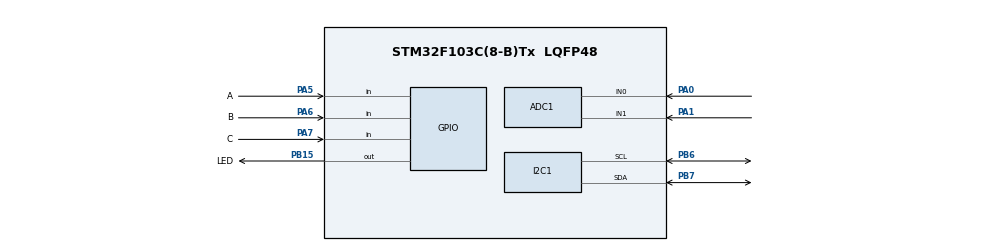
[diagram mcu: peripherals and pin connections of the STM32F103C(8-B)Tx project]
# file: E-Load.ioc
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ADC1.Channel-0\#ChannelRegularConversion=ADC_CHANNEL_1
ADC1.Channel-1\#ChannelRegularConversion=ADC_CHANNEL_0
ADC1.ContinuousConvMode=ENABLE
ADC1.NbrOfConversion=2
ADC1.NbrOfConversionFlag=1
ADC1.Rank-0\#ChannelRegularConversion=1
ADC1.Rank-1\#ChannelRegularConversion=2
ADC1.SamplingTime-0\#ChannelRegularConversion=ADC_SAMPLETIME_28CYCLES_5
ADC1.SamplingTime-1\#ChannelRegularConversion=ADC_SAMPLETIME_28CYCLES_5
ADC1.master=1
Dma.ADC1.0.Direction=DMA_PERIPH_TO_MEMORY
Dma.ADC1.0.Instance=DMA1_Channel1
Dma.ADC1.0.MemDataAlignment=DMA_MDATAALIGN_WORD
Dma.ADC1.0.MemInc=DMA_MINC_ENABLE
Dma.ADC1.0.Mode=DMA_CIRCULAR
Dma.ADC1.0.PeriphDataAlignment=DMA_PDATAALIGN_WORD
Dma.ADC1.0.PeriphInc=DMA_PINC_DISABLE
Dma.ADC1.0.Priority=DMA_PRIORITY_LOW
Dma.Request0=ADC1
Mcu.Family=STM32F1
Mcu.Name=STM32F103C(8-B)Tx
Mcu.Package=LQFP48
NVIC.DMA1_Channel1_IRQn=true\:0\:0\:false\:false\:true\:false\:true
NVIC.PriorityGroup=NVIC_PRIORITYGROUP_4
PA0-WKUP.Signal=ADCx_IN0
PA1.Signal=ADCx_IN1
PA13.GPIO_Label=SWDIO
PA13.Mode=Serial_Wire
PA13.Signal=SYS_JTMS-SWDIO
PA14.GPIO_Label=SWCLK
PA14.Mode=Serial_Wire
PA14.Signal=SYS_JTCK-SWCLK
PA5.GPIO_Label=A
PA5.Signal=GPIO_Input
PA6.GPIO_Label=B
PA6.Signal=GPIO_Input
PA7.GPIO_Label=C
PA7.Signal=GPIO_Input
PB15.GPIO_Label=LED
PB15.Signal=GPIO_Output
PB6.Mode=I2C
PB6.Signal=I2C1_SCL
PB7.Mode=I2C
PB7.Signal=I2C1_SDA
ProjectManager.HeapSize=0x200
ProjectManager.StackSize=0x400
ProjectManager.TargetToolchain=STM32CubeIDE
RCC.APB1Freq_Value=8000000
RCC.APB2Freq_Value=8000000
SH.ADCx_IN0.0=ADC1_IN0,IN0
SH.ADCx_IN1.0=ADC1_IN1,IN1
TIM1.Prescaler=16
VP_TIM1_VS_ClockSourceINT.Mode=Internal
board=custom

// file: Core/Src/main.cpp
/* USER CODE BEGIN Header */
/**
  ******************************************************************************
  * @file           : main.c
  * @brief          : Main program body
  ******************************************************************************
  * @attention
  *
  * <h2><center>&copy; Copyright (c) 2020 STMicroelectronics.
  * All rights reserved.</center></h2>
  *
  * This software component is licensed by ST under BSD 3-Clause license,
  * the "License"; You may not use this file except in compliance with the
  * License. You may obtain a copy of the License at:
  *                        opensource.org/licenses/BSD-3-Clause
  *
  ******************************************************************************
  */
/* USER CODE END Header */
#include <main.hpp>

/* USER CODE BEGIN Includes */
#include "ADC.hpp"
#include "Buttons.hpp"
#include "DAC.hpp"
/* USER CODE END Includes */

ADC_HandleTypeDef hadc1;
DMA_HandleTypeDef hdma_adc1;

I2C_HandleTypeDef hi2c1;

TIM_HandleTypeDef htim1;

void SystemClock_Config(void);
static void MX_GPIO_Init(void);
static void MX_DMA_Init(void);
static void MX_ADC1_Init(void);
static void MX_I2C1_Init(void);
static void MX_TIM1_Init(void);

int main(void)
{

  /* MCU Configuration--------------------------------------------------------*/

  /* Reset of all peripherals, Initializes the Flash interface and the Systick. */
  HAL_Init();

  /* Configure the system clock */
  SystemClock_Config();

  /* Initialize all configured peripherals */
  MX_GPIO_Init();
  MX_DMA_Init();
  MX_ADC1_Init();
  MX_I2C1_Init();
  MX_TIM1_Init();
  /* USER CODE BEGIN 2 */

  AllButtons Butt;  //Button Class

  ADC Adc(hadc1);   // ADC Class

  if(Adc.ADC_Error != HAL_OK)
  {
	  Error_Handler();
  }

  buttons butt; // Buttons struct
  HAL_GPIO_WritePin(LED_GPIO_Port, LED_Pin, GPIO_PIN_SET);

  static const uint8_t DAC_ADDR = 0b0001100<<1; // Need to shift to the left. Bit 0 is R/W bit

  DAC Dac(hi2c1,DAC_ADDR);
  HAL_StatusTypeDef ret = HAL_OK;

  /* USER CODE END 2 */

  /* Infinite loop */
  /* USER CODE BEGIN WHILE */
  double * raw = Adc.ADC_getValue();

  while (1)
  {
    /* USER CODE END WHILE */

    /* USER CODE BEGIN 3 */
	Butt.readButtons(&butt);

	if (butt.A == true)
	{
		HAL_GPIO_TogglePin(LED_GPIO_Port, LED_Pin);

	}
	if (butt.B == true)
	{
		HAL_GPIO_TogglePin(LED_GPIO_Port, LED_Pin);
	}
    if (butt.C == true)
	{
    	HAL_GPIO_TogglePin(LED_GPIO_Port, LED_Pin);
	}

	if(raw <= 0)
	{
		Error_Handler();
	}

    raw = Adc.ADC_getValue();
	//ret = Dac.setValue(5);
	if(ret != HAL_OK)
	{
		Error_Handler();
	}

  }
  /* USER CODE END 3 */
}

void SystemClock_Config(void)
{
  RCC_OscInitTypeDef RCC_OscInitStruct = {0};
  RCC_ClkInitTypeDef RCC_ClkInitStruct = {0};
  RCC_PeriphCLKInitTypeDef PeriphClkInit = {0};

  /** Initializes the RCC Oscillators according to the specified parameters
  * in the RCC_OscInitTypeDef structure.
  */
  RCC_OscInitStruct.OscillatorType = RCC_OSCILLATORTYPE_HSI;
  RCC_OscInitStruct.HSIState = RCC_HSI_ON;
  RCC_OscInitStruct.HSICalibrationValue = RCC_HSICALIBRATION_DEFAULT;
  RCC_OscInitStruct.PLL.PLLState = RCC_PLL_NONE;
  if (HAL_RCC_OscConfig(&RCC_OscInitStruct) != HAL_OK)
  {
    Error_Handler();
  }
  /** Initializes the CPU, AHB and APB buses clocks
  */
  RCC_ClkInitStruct.ClockType = RCC_CLOCKTYPE_HCLK|RCC_CLOCKTYPE_SYSCLK
                              |RCC_CLOCKTYPE_PCLK1|RCC_CLOCKTYPE_PCLK2;
  RCC_ClkInitStruct.SYSCLKSource = RCC_SYSCLKSOURCE_HSI;
  RCC_ClkInitStruct.AHBCLKDivider = RCC_SYSCLK_DIV1;
  RCC_ClkInitStruct.APB1CLKDivider = RCC_HCLK_DIV1;
  RCC_ClkInitStruct.APB2CLKDivider = RCC_HCLK_DIV1;

  if (HAL_RCC_ClockConfig(&RCC_ClkInitStruct, FLASH_LATENCY_0) != HAL_OK)
  {
    Error_Handler();
  }
  PeriphClkInit.PeriphClockSelection = RCC_PERIPHCLK_ADC;
  PeriphClkInit.AdcClockSelection = RCC_ADCPCLK2_DIV2;
  if (HAL_RCCEx_PeriphCLKConfig(&PeriphClkInit) != HAL_OK)
  {
    Error_Handler();
  }
}

static void MX_ADC1_Init(void)
{

  ADC_ChannelConfTypeDef sConfig = {0};

  /** Common config
  */
  hadc1.Instance = ADC1;
  hadc1.Init.ScanConvMode = ADC_SCAN_ENABLE;
  hadc1.Init.ContinuousConvMode = ENABLE;
  hadc1.Init.DiscontinuousConvMode = DISABLE;
  hadc1.Init.ExternalTrigConv = ADC_SOFTWARE_START;
  hadc1.Init.DataAlign = ADC_DATAALIGN_RIGHT;
  hadc1.Init.NbrOfConversion = 2;
  if (HAL_ADC_Init(&hadc1) != HAL_OK)
  {
    Error_Handler();
  }
  /** Configure Regular Channel
  */
  sConfig.Channel = ADC_CHANNEL_1;
  sConfig.Rank = ADC_REGULAR_RANK_1;
  sConfig.SamplingTime = ADC_SAMPLETIME_239CYCLES_5;
  if (HAL_ADC_ConfigChannel(&hadc1, &sConfig) != HAL_OK)
  {
    Error_Handler();
  }
  /** Configure Regular Channel
  */
  sConfig.Channel = ADC_CHANNEL_0;
  sConfig.Rank = ADC_REGULAR_RANK_2;
  if (HAL_ADC_ConfigChannel(&hadc1, &sConfig) != HAL_OK)
  {
    Error_Handler();
  }

}

static void MX_I2C1_Init(void)
{

  hi2c1.Instance = I2C1;
  hi2c1.Init.ClockSpeed = 100000;
  hi2c1.Init.DutyCycle = I2C_DUTYCYCLE_2;
  hi2c1.Init.OwnAddress1 = 0;
  hi2c1.Init.AddressingMode = I2C_ADDRESSINGMODE_7BIT;
  hi2c1.Init.DualAddressMode = I2C_DUALADDRESS_DISABLE;
  hi2c1.Init.OwnAddress2 = 0;
  hi2c1.Init.GeneralCallMode = I2C_GENERALCALL_DISABLE;
  hi2c1.Init.NoStretchMode = I2C_NOSTRETCH_DISABLE;
  if (HAL_I2C_Init(&hi2c1) != HAL_OK)
  {
    Error_Handler();
  }

}

static void MX_TIM1_Init(void)
{

  TIM_ClockConfigTypeDef sClockSourceConfig = {0};
  TIM_MasterConfigTypeDef sMasterConfig = {0};

  htim1.Instance = TIM1;
  htim1.Init.Prescaler = 16;
  htim1.Init.CounterMode = TIM_COUNTERMODE_UP;
  htim1.Init.Period = 65535;
  htim1.Init.ClockDivision = TIM_CLOCKDIVISION_DIV1;
  htim1.Init.RepetitionCounter = 0;
  htim1.Init.AutoReloadPreload = TIM_AUTORELOAD_PRELOAD_DISABLE;
  if (HAL_TIM_Base_Init(&htim1) != HAL_OK)
  {
    Error_Handler();
  }
  sClockSourceConfig.ClockSource = TIM_CLOCKSOURCE_INTERNAL;
  if (HAL_TIM_ConfigClockSource(&htim1, &sClockSourceConfig) != HAL_OK)
  {
    Error_Handler();
  }
  sMasterConfig.MasterOutputTrigger = TIM_TRGO_RESET;
  sMasterConfig.MasterSlaveMode = TIM_MASTERSLAVEMODE_DISABLE;
  if (HAL_TIMEx_MasterConfigSynchronization(&htim1, &sMasterConfig) != HAL_OK)
  {
    Error_Handler();
  }

}

static void MX_DMA_Init(void)
{

  /* DMA controller clock enable */
  __HAL_RCC_DMA1_CLK_ENABLE();

  /* DMA interrupt init */
  /* DMA1_Channel1_IRQn interrupt configuration */
  HAL_NVIC_SetPriority(DMA1_Channel1_IRQn, 0, 0);
  HAL_NVIC_EnableIRQ(DMA1_Channel1_IRQn);

}

static void MX_GPIO_Init(void)
{
  GPIO_InitTypeDef GPIO_InitStruct = {0};

  /* GPIO Ports Clock Enable */
  __HAL_RCC_GPIOA_CLK_ENABLE();
  __HAL_RCC_GPIOB_CLK_ENABLE();

  /*Configure GPIO pin Output Level */
  HAL_GPIO_WritePin(LED_GPIO_Port, LED_Pin, GPIO_PIN_RESET);

  /*Configure GPIO pins : A_Pin B_Pin C_Pin */
  GPIO_InitStruct.Pin = A_Pin|B_Pin|C_Pin;
  GPIO_InitStruct.Mode = GPIO_MODE_INPUT;
  GPIO_InitStruct.Pull = GPIO_NOPULL;
  HAL_GPIO_Init(GPIOA, &GPIO_InitStruct);

  /*Configure GPIO pin : LED_Pin */
  GPIO_InitStruct.Pin = LED_Pin;
  GPIO_InitStruct.Mode = GPIO_MODE_OUTPUT_PP;
  GPIO_InitStruct.Pull = GPIO_NOPULL;
  GPIO_InitStruct.Speed = GPIO_SPEED_FREQ_LOW;
  HAL_GPIO_Init(LED_GPIO_Port, &GPIO_InitStruct);

}

void Error_Handler(void)
{
  /* USER CODE BEGIN Error_Handler_Debug */
  /* User can add his own implementation to report the HAL error return state */
	char Error_msg[] = {"How did we get here?"};

  /* USER CODE END Error_Handler_Debug */
}

/************************ (C) COPYRIGHT STMicroelectronics *****END OF FILE****/
